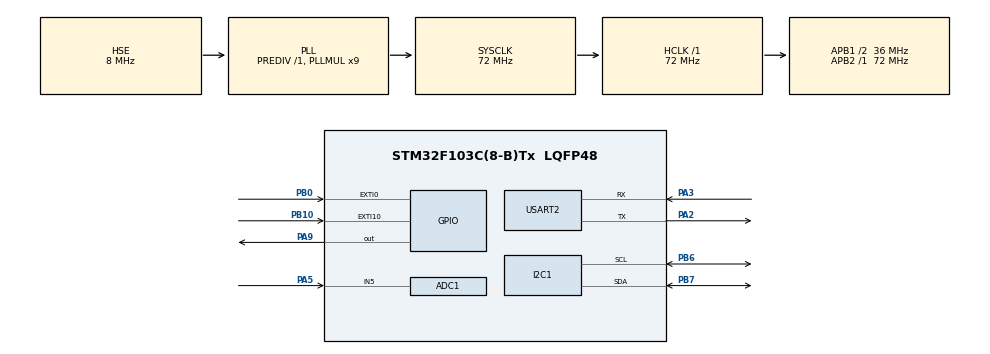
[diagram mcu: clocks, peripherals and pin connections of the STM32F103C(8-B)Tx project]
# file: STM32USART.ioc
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ADC1.Channel-0\#ChannelRegularConversion=ADC_CHANNEL_5
ADC1.NbrOfConversionFlag=1
ADC1.Rank-0\#ChannelRegularConversion=1
ADC1.SamplingTime-0\#ChannelRegularConversion=ADC_SAMPLETIME_1CYCLE_5
ADC1.master=1
Dma.Request0=USART2_RX
Dma.Request1=USART2_TX
Dma.USART2_RX.0.Direction=DMA_PERIPH_TO_MEMORY
Dma.USART2_RX.0.Instance=DMA1_Channel6
Dma.USART2_RX.0.MemDataAlignment=DMA_MDATAALIGN_BYTE
Dma.USART2_RX.0.MemInc=DMA_MINC_ENABLE
Dma.USART2_RX.0.Mode=DMA_NORMAL
Dma.USART2_RX.0.PeriphDataAlignment=DMA_PDATAALIGN_BYTE
Dma.USART2_RX.0.PeriphInc=DMA_PINC_DISABLE
Dma.USART2_RX.0.Priority=DMA_PRIORITY_LOW
Dma.USART2_TX.1.Direction=DMA_MEMORY_TO_PERIPH
Dma.USART2_TX.1.Instance=DMA1_Channel7
Dma.USART2_TX.1.MemDataAlignment=DMA_MDATAALIGN_BYTE
Dma.USART2_TX.1.MemInc=DMA_MINC_ENABLE
Dma.USART2_TX.1.Mode=DMA_NORMAL
Dma.USART2_TX.1.PeriphDataAlignment=DMA_PDATAALIGN_BYTE
Dma.USART2_TX.1.PeriphInc=DMA_PINC_DISABLE
Dma.USART2_TX.1.Priority=DMA_PRIORITY_LOW
I2C1.I2C_Mode=I2C_Fast
Mcu.Family=STM32F1
Mcu.Name=STM32F103C(8-B)Tx
Mcu.Package=LQFP48
NVIC.ADC1_2_IRQn=true\:2\:0\:true\:false\:true\:true\:true\:true
NVIC.DMA1_Channel6_IRQn=true\:0\:0\:true\:false\:true\:false\:true\:true
NVIC.DMA1_Channel7_IRQn=true\:0\:0\:false\:false\:true\:false\:true\:true
NVIC.EXTI0_IRQn=true\:1\:0\:true\:false\:true\:true\:true\:true
NVIC.EXTI15_10_IRQn=true\:0\:0\:true\:false\:true\:true\:true\:true
NVIC.PriorityGroup=NVIC_PRIORITYGROUP_4
NVIC.TIM1_UP_IRQn=true\:0\:0\:false\:false\:true\:true\:true\:true
NVIC.TIM2_IRQn=true\:1\:0\:true\:false\:true\:true\:true\:true
NVIC.TIM4_IRQn=true\:0\:0\:true\:false\:true\:true\:true\:true
NVIC.USART2_IRQn=true\:1\:0\:true\:false\:true\:true\:true\:true
PA13.Mode=Serial_Wire
PA13.Signal=SYS_JTMS-SWDIO
PA14.Mode=Serial_Wire
PA14.Signal=SYS_JTCK-SWCLK
PA2.Mode=Asynchronous
PA2.Signal=USART2_TX
PA3.Mode=Asynchronous
PA3.Signal=USART2_RX
PA5.Signal=ADCx_IN5
PA9.GPIO_PuPd=GPIO_NOPULL
PA9.Signal=GPIO_Output
PB0.GPIO_ModeDefaultEXTI=GPIO_MODE_IT_FALLING
PB0.GPIO_PuPd=GPIO_PULLUP
PB0.Signal=GPXTI0
PB10.GPIO_ModeDefaultEXTI=GPIO_MODE_IT_RISING
PB10.GPIO_PuPd=GPIO_PULLUP
PB10.Signal=GPXTI10
PB6.Mode=I2C
PB6.Signal=I2C1_SCL
PB7.Mode=I2C
PB7.Signal=I2C1_SDA
PD0-OSC_IN.Mode=HSE-External-Oscillator
PD0-OSC_IN.Signal=RCC_OSC_IN
PD1-OSC_OUT.Mode=HSE-External-Oscillator
PD1-OSC_OUT.Signal=RCC_OSC_OUT
ProjectManager.HeapSize=0x200
ProjectManager.StackSize=0x400
ProjectManager.TargetToolchain=MDK-ARM V5.32
RCC.ADCPresc=RCC_ADCPCLK2_DIV6
RCC.AHBFreq_Value=72000000
RCC.APB1CLKDivider=RCC_HCLK_DIV2
RCC.APB1Freq_Value=36000000
RCC.APB1TimFreq_Value=72000000
RCC.APB2Freq_Value=72000000
RCC.APB2TimFreq_Value=72000000
RCC.HCLKFreq_Value=72000000
RCC.PLLMUL=RCC_PLL_MUL9
RCC.PLLSourceVirtual=RCC_PLLSOURCE_HSE
RCC.SYSCLKFreq_VALUE=72000000
RCC.SYSCLKSource=RCC_SYSCLKSOURCE_PLLCLK
RCC.USBFreq_Value=72000000
SH.ADCx_IN5.0=ADC1_IN5,IN5
TIM1.Period=125-1
TIM1.Prescaler=36000-1
TIM2.Period=2000-1
TIM2.Prescaler=36000-1
TIM4.Period=20-1
TIM4.Prescaler=36000-1
USART2.VirtualMode=VM_ASYNC
VP_TIM1_VS_ClockSourceINT.Mode=Internal
VP_TIM2_VS_ClockSourceINT.Mode=Internal
VP_TIM4_VS_ClockSourceINT.Mode=Internal
board=custom

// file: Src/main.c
/* USER CODE BEGIN Header */
/**
  ******************************************************************************
  * @file           : main.c
  * @brief          : Main program body
  ******************************************************************************
  * @attention
  *
  * Copyright (c) 2023 STMicroelectronics.
  * All rights reserved.
  *
  * This software is licensed under terms that can be found in the LICENSE file
  * in the root directory of this software component.
  * If no LICENSE file comes with this software, it is provided AS-IS.
  *
  ******************************************************************************
  */
/* USER CODE END Header */
#include "main.h"

/* USER CODE BEGIN Includes */
#include "stdio.h"
#include "stdlib.h"
#include "string.h"
#include "stdbool.h"
#include "Module.h"
#include "ATCommandList.h"
#include "Parameter.h"
#include "ssd1306.h"
#include "fonts.h"
#include "bitmap.h"
/* USER CODE END Includes */

ADC_HandleTypeDef hadc1;

I2C_HandleTypeDef hi2c1;

TIM_HandleTypeDef htim1;
TIM_HandleTypeDef htim2;
TIM_HandleTypeDef htim4;

UART_HandleTypeDef huart2;
DMA_HandleTypeDef hdma_usart2_rx;
DMA_HandleTypeDef hdma_usart2_tx;

void SystemClock_Config(void);
static void MX_GPIO_Init(void);
static void MX_DMA_Init(void);
static void MX_USART2_UART_Init(void);
static void MX_ADC1_Init(void);
static void MX_I2C1_Init(void);
static void MX_TIM2_Init(void);
static void MX_TIM4_Init(void);
static void MX_TIM1_Init(void);

/* USER CODE BEGIN 0 */

uint16_t oldPos = 0;
uint16_t newPos = 0;
volatile int rssi = -1;
int ber = -1;
uint8_t networkRegistered;
volatile uint8_t programStage = 1;

uint16_t u16_ADCVal = 0;

uint32_t currentMillis = 0;
uint32_t previosMillis = 0;

uint32_t timerSendMessage = 0;

bool passivelyListen = false;
bool responseReceived;
volatile bool mqttParemeterConnected = false;
volatile bool oledButton = false;
volatile bool waterLeak = false;
volatile bool sendMessage = false; /* true to send message immediately*/
volatile bool resetOLED = false;
volatile bool batteryCalculate = true;

//bool sendMessagePeriod = true;
//volatile bool sendMessageWaterLeak = false;
//volatile bool sendMessageLowBattery = false;
volatile bool OLEDTurnedOff;

StatusType commandResponseStatus;

char responseReceiveBuffer[RESPONSE_BUFFER_SIZE];
char responseMainBuffer[RESPONSE_BUFFER_SIZE];
char commandResponse[RESPONSE_BUFFER_SIZE];

char delimiter[4] = ",\r\n";
char message[100];

float flow = 0; /* Lit per minute */
int frequency = 0;
float coefficient;
char bufferflow[20];
float waterFlowPrevious;
float waterFlowNow;
volatile float volume = 0;
volatile float batteryVoltage = 3.3;
int pulse = 0;

/**/

int counterOLEDDisplay = 0;
int counterWaterLeakage = 0;
int counterResetOLED = 0;
int counterBattery = 0;
int counterSendMessage = 15*60 - 5*60 - 1;
int counterWaterRemainUnleak = 0;

/**/

void turnOnSSD1306(){
	ssd1306_I2C_Write(0x78, 0x00, 0x8D);
	ssd1306_I2C_Write(0x78, 0x00, 0x14);
	ssd1306_I2C_Write(0x78, 0x00, 0xAF);
}

void turnOffSSD1306(){
	ssd1306_I2C_Write(0x78, 0x00, 0x8D);
	ssd1306_I2C_Write(0x78, 0x00, 0x10);
	ssd1306_I2C_Write(0x78, 0x00, 0xAE);
}

void HAL_TIM_PeriodElapsedCallback(TIM_HandleTypeDef *htim)
{
  /* Prevent unused argument(s) compilation warning */
	UNUSED(htim);
	if(htim->Instance == TIM1){ /* 62.5 ms */
		frequency = pulse * 16;
		if(frequency == 16){
			coefficient = 12.0208; // 8.1
		}else if(frequency == 32){
			coefficient = 7.831; // 8.109
		}else if(frequency == 48){
			coefficient = 8.1062;
		}else if(frequency == 64){
			coefficient = 8.0608;
		}else if(frequency == 80){
			coefficient = 8.155;
		}else{
			coefficient = 7.312;
		}
		flow = frequency / (coefficient * 60);
//			if(frequency < 50){
//				if(frequency < 16){
//					coefficient = frequency/2;  /* 0 -> 16 */
////					coefficient = 7.512;
//				}else if(frequency > 32){
//					coefficient = 0.0054 * frequency + 7.947; /* 32.5 -> 49.3 */
//				}else{
//					coefficient = 8.2; /* 16 -> 32.5*/
//				}
//			}else{
//				if(frequency < 82){
//					if(frequency < 66){
//						coefficient = -0.0018 * frequency + 8.307; /* 49.3 -> 65.5 */
//					}else{
//						coefficient = 0.0008 * frequency + 8.138; /* 65.5 -> 82 */
//					}
//				}else{
//					if(frequency < 91){
//						coefficient = -0.0834 * frequency + 15.04; /* 82 -> 90.2 */
//					}else{
//						coefficient = 7.512; /* > 90.2 */
//					}
//				}
//			}
//			if(coefficient == 0){
//				flow = 0;
//			}else{
//				flow = frequency / (coefficient * 60) ; /* pulse * 10 = frequency, 7.5 is a parameter number based on datasheet, lit/minute to lit/second */
//			}
//			counter10ms = 0;
			pulse = 0;
	}
	if(htim->Instance == TIM4){ /* 10ms */
		waterFlowPrevious = waterFlowNow;
		waterFlowNow = flow;
		volume += ((waterFlowNow + waterFlowPrevious)/2) * 0.01; /* Avarage flow rate per 10ms, then multiply with time to have the volume*/
	}
	if(htim->Instance == TIM2){ /* 1s */

		/* WatchDog Module */

//		if(sendMessage){
//				timerSendMessage++;
//			if(timerSendMessage == 5 * 60){
//				forceShutdownModule();
//			}
//		}

		/* Send Message */

		if(!sendMessage){
			counterSendMessage++;
			if(counterSendMessage == 15 * 60){
				sendMessage = true;
				programStage = 1;
			}
		}else{
			counterSendMessage = 0;
		}

		/* Turn Off OLED*/

		if(oledButton){
			counterOLEDDisplay++;
			if(counterOLEDDisplay == 6){
				oledButton = false;
				OLEDTurnedOff = false;
			}
		}else{
			counterOLEDDisplay = 0;
		}

		/* Low Battery Alert */

		if(!batteryCalculate){
			counterBattery++;
			if(counterBattery == 20 * 60){
				batteryCalculate = true;
			}
		}

		/* Reset OLED */

		if(!resetOLED){
			counterResetOLED++;
			if(counterResetOLED == 10 * 60){
				resetOLED = true;
			}
		}

		/* Leak Alert - Real*/

		if(flow > 0){
			counterWaterLeakage++;
			if(counterWaterLeakage == 60 * 60){
				waterLeak = true;
				sendMessage = true;
				counterWaterLeakage = 0;
			}
		}else{
			if(waterLeak){
				counterWaterRemainUnleak++;
				if(counterWaterRemainUnleak == 20 * 60){
					waterLeak = false;
					sendMessage = true;
					counterWaterRemainUnleak = 0;
				}
			}else{
				counterWaterLeakage = 0;
			}
		}
	}
}

void HAL_ADC_ConvCpltCallback(ADC_HandleTypeDef* hadc)
{
  /* Prevent unused argument(s) compilation warning */
  UNUSED(hadc);
	if(hadc->Instance == ADC1){
		u16_ADCVal = HAL_ADC_GetValue(&hadc1);
		batteryVoltage = (((float) u16_ADCVal * 2)/4095)*3.3;
	}
  /* NOTE : This function should not be modified. When the callback is needed,
            function HAL_ADC_ConvCpltCallback must be implemented in the user file.
   */
}

void turnOnModule(){
		HAL_GPIO_WritePin(GPIOA, GPIO_PIN_9, GPIO_PIN_SET);
		/* Delay 800ms (According to Hardware Design Datasheet */
		HAL_Delay(800);
		HAL_GPIO_WritePin(GPIOA, GPIO_PIN_9, GPIO_PIN_RESET);
		HAL_Delay(200);
}

void wakeUpModule(){
	/* Pull Up/Down PWR key depend on Module*/
	HAL_GPIO_WritePin(GPIOA, GPIO_PIN_9, GPIO_PIN_SET);
	/* Delay 60ms (According to Hardware Design Datasheet */
	HAL_Delay(60);
	HAL_GPIO_WritePin(GPIOA, GPIO_PIN_9, GPIO_PIN_RESET);
	HAL_Delay(200);
}

void resetDMAInterrupt(){
	HAL_UARTEx_ReceiveToIdle_DMA(&huart2, (uint8_t *) responseReceiveBuffer, RESPONSE_BUFFER_SIZE);
	__HAL_DMA_DISABLE_IT(&hdma_usart2_rx, DMA_IT_HT);
}

void clearMainBuffer() {
	for (int i = 0; i < RESPONSE_BUFFER_SIZE; i++) {
		responseMainBuffer[i] = 0;
	}
	oldPos = 0;
	newPos = 0;
}

void sendCommand(char command[50], uint8_t maxCount, uint32_t timeout){
	uint8_t counter = 0;
	uint32_t timer;
	char sentCommand[50];
	strcpy(sentCommand, command);
	strcat(sentCommand, "\r\n");
	while(counter++ < maxCount){
		clearMainBuffer();
		if(!strcmp(command,"AT+CPOWD=1")){
			passivelyListen = false;
		}
		resetDMAInterrupt();
		timer = HAL_GetTick();
		responseReceived = false;
		commandResponseStatus = STATUS_TIMEOUT;
//		strcat(command, "\r\n");
		HAL_UART_Transmit_DMA(&huart2, (uint8_t *) sentCommand, (uint16_t) strlen(sentCommand));
//		HAL_UART_Transmit_DMA(&huart2, (uint8_t *) "\r\n", (uint16_t) strlen("\r\n"));
		while(HAL_GetTick() - timer <= timeout){
			if(responseReceived == true){
				break;
			}
		}
		if(commandResponseStatus == STATUS_SUCCESS){
			break;
		}
		clearMainBuffer();
		HAL_Delay(COMMAND_DELAY_MS);
	}
}

/**
  * @brief  Reception Event Callback (Rx event notification called after use of advanced reception service).
  * @param  huart UART handle
  * @param  Size  Number of data available in application reception buffer (indicates a position in
  *               reception buffer until which, data are available)
  * @retval None
  */
void HAL_UARTEx_RxEventCallback(UART_HandleTypeDef *huart, uint16_t Size)
{
  /* Prevent unused argument(s) compilation warning */
  if(huart->Instance == USART2){
		char *success_ptr;
		char *error_ptr;

		oldPos = newPos;  // Update the last position before copying new data

		/* If the data in large and it is about to exceed the buffer size, we have to route it to the start of the buffer
		 * This is to maintain the circular buffer
		 * The old data in the main buffer will be overlapped
		 */
		if (oldPos+Size > RESPONSE_BUFFER_SIZE)  // If the current position + new data size is greater than the main buffer
		{
			clearMainBuffer();
		}

		/* if the current position + new data size is less than the main buffer
		 * we will simply copy the data into the buffer and update the position
		 */
		else
		{
			memcpy ((uint8_t *)responseMainBuffer+oldPos, responseReceiveBuffer, Size);
			newPos = Size+oldPos;
		}

	/* Checking passively listen */
	if(passivelyListen){
		for(int i = 0; i < PASSIVE_RESPONSE_LENGTH; i++){
			error_ptr = strstr(responseMainBuffer, PASSIVE_RESPONSE_SIGN[0]);
			if(error_ptr != NULL){
				commandResponseStatus = STATUS_SUCCESS;
				clearMainBuffer();
				responseReceived = true;
			}
		}
		passivelyListen = false;
	}

	/* Checking completion of command */
	for(int i = 0; i < ERROR_RESPONSE_LENGTH; i++){
		error_ptr = strstr(responseMainBuffer, ERROR_COMMAND_SIGN[i]);
		if(error_ptr != NULL){
			commandResponseStatus = STATUS_ERROR;
			responseReceived = true;
			clearMainBuffer();
			break;
		}
	}

	for(int i = 0; i < SUCCESS_RESPONSE_LENGTH; i++){
		success_ptr = strstr(responseMainBuffer, SUCCESS_COMMAND_SIGN[i]);
		if(success_ptr != NULL){
			commandResponseStatus = STATUS_SUCCESS;
			responseReceived = true;
			strcpy(commandResponse, responseMainBuffer);
			clearMainBuffer();
			break;
		}
	}

	/* Start the DMA again */
	resetDMAInterrupt();

	}
  /* NOTE : This function should not be modified, when the callback is needed,
            the HAL_UARTEx_RxEventCallback can be implemented in the user file.
   */
}

StatusType forceShutdownModule(){
	StatusType outputStatus = STATUS_UNKNOWN;
	passivelyListen = true;
	uint32_t timer;
	clearMainBuffer();
	resetDMAInterrupt();
	timer = HAL_GetTick();
	responseReceived = false;
	commandResponseStatus = STATUS_TIMEOUT;
	HAL_GPIO_WritePin(GPIOA, GPIO_PIN_9, GPIO_PIN_SET);
	/* Delay 1000ms (According to Hardware Design Datasheet */
	HAL_Delay(1000);
	HAL_GPIO_WritePin(GPIOA, GPIO_PIN_9, GPIO_PIN_RESET);
	HAL_Delay(200);
	while(HAL_GetTick() - timer <= 1000){
		if(responseReceived == true){
			break;
		}
	}
	outputStatus = commandResponseStatus;
	return outputStatus;
}

StatusType turnOffModule(){
	StatusType outputStatus = STATUS_UNKNOWN;
	passivelyListen = true;
	sendCommand("AT+CPOWD=1", 1, RUN_COMMAND_TIMEOUT_MS_DEFAULT);
	outputStatus = commandResponseStatus;
	return outputStatus;
}

StatusType checkModule(){
	StatusType outputStatus = STATUS_UNKNOWN;
	sendCommand("AT", RUN_COMMAND_COUNTER_DEFAULT, RUN_COMMAND_TIMEOUT_MS_DEFAULT);
	outputStatus = commandResponseStatus;
	return outputStatus;
}

StatusType setEchoMode(){
	StatusType outputStatus = STATUS_UNKNOWN;
	sendCommand("ATE0", RUN_COMMAND_COUNTER_DEFAULT, RUN_COMMAND_TIMEOUT_MS_DEFAULT);
	outputStatus = commandResponseStatus;
	return outputStatus;
}

StatusType checkSim(){
	StatusType outputStatus = STATUS_UNKNOWN;
	sendCommand("AT+CPIN?", RUN_COMMAND_COUNTER_DEFAULT, RUN_COMMAND_TIMEOUT_MS_DEFAULT);
	outputStatus = commandResponseStatus;
	return outputStatus;
}

StatusType getAndSetOperationalBand(){
	StatusType outputStatus = STATUS_UNKNOWN;
	sendCommand("AT+CBAND=3", RUN_COMMAND_COUNTER_DEFAULT, RUN_COMMAND_TIMEOUT_MS_DEFAULT);
	outputStatus = commandResponseStatus;
	return outputStatus;
}

StatusType readSignalQualityReport(){
	StatusType outputStatus = STATUS_UNKNOWN;
	sendCommand("AT+CSQ", RUN_COMMAND_COUNTER_DEFAULT, RUN_COMMAND_TIMEOUT_MS_DEFAULT);
	outputStatus = commandResponseStatus;
	if(outputStatus == STATUS_SUCCESS){
		/* RSSI and BER */

		int numberOfElements = 2;
		char *data_pointer;
		char *token_array[numberOfElements];
		char *token;

		uint8_t i = 0;

		data_pointer = strstr(commandResponse, ":");
		data_pointer = data_pointer + 2;
		token = strtok(data_pointer, delimiter);

		while(token != NULL && i < numberOfElements){
			token_array[i] = token;
			token = strtok(NULL, delimiter);
			i++;
		}
		rssi = atoi(token_array[0]);
		ber = atoi(token_array[1]);

	}
	return outputStatus;
}

StatusType readNetworkRegistrationStatus(){
	StatusType outputStatus = STATUS_UNKNOWN;
	sendCommand("AT+CREG?",RUN_COMMAND_COUNTER_DEFAULT, RUN_COMMAND_TIMEOUT_MS_DEFAULT);
	outputStatus = commandResponseStatus;
	if(outputStatus == STATUS_SUCCESS){
		/* Registered */

		uint8_t numberOfElements = 2;
		char *data_pointer;
		char *token;
		char *token_array[numberOfElements];
		uint8_t i = 0;

		data_pointer = strstr(commandResponse, ":");
		data_pointer = data_pointer + 2;

		if(!data_pointer){
			outputStatus = STATUS_FAILURE;
			return outputStatus;
		}

		token = strtok(data_pointer, delimiter);

		while(token != NULL && i < numberOfElements){
			token_array[i] = token;
			token = strtok(NULL, delimiter);
			i++;
		}

		networkRegistered = atoi(token_array[1]);

	}
	return outputStatus;
}

StatusType setPhoneFunctionality(uint8_t fun){
	StatusType outputStatus = STATUS_UNKNOWN;
	char command[20];
	sprintf(command, "AT+CFUN=%u", fun);
	sendCommand(command, RUN_COMMAND_COUNTER_DEFAULT, RUN_COMMAND_TIMEOUT_MS_DEFAULT);
	outputStatus = commandResponseStatus;
	return outputStatus;
}

StatusType setDefaultPSDConnection(){
	StatusType outputStatus = STATUS_UNKNOWN;
	sendCommand("AT*MCGDEFCONT=\"ip\",\"nbiot\"", RUN_COMMAND_COUNTER_DEFAULT, RUN_COMMAND_TIMEOUT_MS_DEFAULT);
	outputStatus = commandResponseStatus;
	return outputStatus;
}

StatusType configWakeupIndication(){
	StatusType outputStatus = STATUS_UNKNOWN;
	sendCommand("AT+CPSMSTATUS=1", RUN_COMMAND_COUNTER_DEFAULT, RUN_COMMAND_TIMEOUT_MS_DEFAULT);
	outputStatus = commandResponseStatus;
	return outputStatus;
}

StatusType configSlowClock(){
	StatusType outputStatus = STATUS_UNKNOWN;
	sendCommand("AT+CSCLK=2", RUN_COMMAND_COUNTER_DEFAULT, RUN_COMMAND_TIMEOUT_MS_DEFAULT);
	outputStatus = commandResponseStatus;
	return outputStatus;
}

StatusType configPSM(){
	StatusType outputStatus = STATUS_UNKNOWN;
	sendCommand("AT+CPSMS=1,,,\"01011111\",\"00000100\"", RUN_COMMAND_COUNTER_DEFAULT, RUN_COMMAND_TIMEOUT_MS_DEFAULT);
	outputStatus = commandResponseStatus;
	return outputStatus;
}

StatusType checkMQTTConnection(){
	StatusType outputStatus = STATUS_UNKNOWN;
	sendCommand("AT+CMQNEW?", RUN_COMMAND_COUNTER_DEFAULT + 1, RUN_COMMAND_TIMEOUT_MS_DEFAULT);
	outputStatus = commandResponseStatus;
	if(outputStatus == STATUS_SUCCESS){
		/* Registered */

		uint8_t numberOfElements = 3;
		char *data_pointer;
		char *token;
		char *token_array[numberOfElements];
		uint8_t i = 0;

		data_pointer = strstr(commandResponse, ":");
		data_pointer = data_pointer + 2;

		if(!data_pointer){
			outputStatus = STATUS_FAILURE;
			return outputStatus;
		}

		token = strtok(data_pointer, delimiter);

		while(token != NULL && i < numberOfElements){
			token_array[i] = token;
			token = strtok(NULL, delimiter);
			i++;
		}

		if(!strcmp(token_array[2],"null")){
			mqttParemeterConnected = false;
		}else{
			mqttParemeterConnected = true;
		}

	}
	return outputStatus;
}

StatusType newMQTT(){
	StatusType outputStatus = STATUS_UNKNOWN;
	char command[50];
	sprintf(command, "AT+CMQNEW=\"%s\",\"%i\",%u,%u", MQTT_SERVER, MQTT_PORT, MQTT_COMMAND_TIMEOUT_MS, MQTT_BUFFER_SIZE);
	sendCommand(command, RUN_COMMAND_COUNTER_DEFAULT + 1, RUN_COMMAND_TIMEOUT_MS_DEFAULT + 2000);
	outputStatus = commandResponseStatus;
	return outputStatus;
}

StatusType sendMQTTConnect(){
	StatusType outputStatus = STATUS_UNKNOWN;
	char command[50];
	sprintf(command, "AT+CMQCON=%u,%u,\"%s\",%u,%u,%u",MQTT_ID, MQTT_VERSION, MQTT_CLIENT_ID, MQTT_KEEP_ALIVE_INTERVAL, MQTT_CONNECT_CLEAN_SESSION, MQTT_CONNECT_WILL_FLAG);
	sendCommand(command, RUN_COMMAND_COUNTER_DEFAULT + 4, RUN_COMMAND_TIMEOUT_MS_DEFAULT + 2000);
	outputStatus = commandResponseStatus;
	return outputStatus;
}

StatusType sendMQTTPub(char topic[], uint8_t qos, bool retained, bool dup, char message[]){
	StatusType outputStatus = STATUS_UNKNOWN;
	uint16_t messageLength = strlen(message);
	char command[200];
	sprintf(command, "AT+CMQPUB=%u,\"%s\",%u,%u,%u,%u,\"%s\"", MQTT_ID, topic, qos, retained, dup, messageLength, message);
	sendCommand(command, RUN_COMMAND_COUNTER_DEFAULT + 1, RUN_COMMAND_TIMEOUT_MS_DEFAULT + 2000);
	outputStatus = commandResponseStatus;
	return outputStatus;
}

StatusType MQTTDisconnect(){
	StatusType outputStatus = STATUS_UNKNOWN;
	char command[20];
	sprintf(command, "AT+CMQDISCON=%u", MQTT_ID);
	sendCommand(command, RUN_COMMAND_COUNTER_DEFAULT, RUN_COMMAND_TIMEOUT_MS_DEFAULT);
	outputStatus = commandResponseStatus;
	return outputStatus;
}

void moduleFlow(){

	/* Stage 1 - Set Up Module */

		while(programStage == 1){

			if(checkModule() != STATUS_SUCCESS){
				turnOnModule();
				continue;
			}

			if(readSignalQualityReport() != STATUS_SUCCESS){
				continue;
			}

			if(setEchoMode() != STATUS_SUCCESS){
				continue;
			}

			if(checkSim() != STATUS_SUCCESS){
				turnOffModule();
				HAL_Delay(1000);
				turnOnModule();
				continue;
			}

//			if(getAndSetOperationalBand() != STATUS_SUCCESS){
//				continue;
//			}

			HAL_Delay(1000);
			programStage = 2;

		}
		/* Stage 2 - Check Network */

		int8_t tryTimes = 4;

		while(programStage == 2){
			/* Check Registration Status */
			while (tryTimes--){
				/* AT+CREG */

				if(readNetworkRegistrationStatus() == STATUS_SUCCESS){
					programStage = 3;
					break;
				}

				if(tryTimes < 2){
					wakeUpModule();
					HAL_Delay(1000);
				}
				HAL_Delay(1000);
			}
			if(tryTimes == -1){
				/* Cannot register automatically. Try to register manually 2 times */
				int8_t tryManually = 3;
				while(tryManually--){
					if(setPhoneFunctionality(0) != STATUS_SUCCESS){
						continue;
					}

					if(setDefaultPSDConnection() != STATUS_SUCCESS){
						continue;
					}

					if(setPhoneFunctionality(1) != STATUS_SUCCESS){
						continue;
					}

					if(readNetworkRegistrationStatus() == STATUS_SUCCESS){
						programStage = 3;
						break;
					}
				}
				if(tryManually == -1){
					turnOffModule();
					programStage = 1;
					HAL_Delay(1000);
					break;
				}
			}
			programStage = 3;
			break;
		}

		/* Configure PSM first time only*/

		while(programStage == 3){
			programStage = 4;
			break;
	  }

//		if(configuredPSM == true){
//			programStage = 4;
//		}
//
//		/* Stage 3 - Configure PSM Feature*/
//		while(programStage == 3){
//			if(configWakeupIndication() != STATUS_SUCCESS){
//				continue;
//			}
//			if(configPSM() != STATUS_SUCCESS){
//				continue;
//			}
//			configuredPSM = true;
//			programStage = 4;
//			HAL_Delay(2000);
//		}

		/* Stage 4 - MQTT */

		int8_t tryMQTT;
		while(programStage == 4){

			if(checkMQTTConnection() != STATUS_SUCCESS){
				continue;
			}

			if(mqttParemeterConnected){
				if(MQTTDisconnect() != STATUS_SUCCESS){
					continue;
				}
			}

			tryMQTT = 3;

			while(tryMQTT--){
				if(newMQTT() == STATUS_SUCCESS){
					break;
				}
			}

			if(tryMQTT == -1){
				turnOffModule();
				HAL_Delay(1000);
				turnOnModule();
			}

			if(sendMQTTConnect() != STATUS_SUCCESS){
				continue;
			}

			/* Send Message */

			int8_t trySend = 4;
			sprintf(message,"bat:%.1f,vol:%.1f,sig:%u,leak:%u", batteryVoltage, volume, rssi, waterLeak);
			while(trySend--){
				if(sendMQTTPub("watermeter1/messages", 0, 0, 0, message) == STATUS_SUCCESS){
					sendMessage = false;
					break;
				}else{
					turnOnModule();
					continue;
				}
			}

			/* Failed to send message*/

			if(trySend == -1){
//				turnOffModule();
				programStage = 1;
				break;
			}

			if(MQTTDisconnect() != STATUS_SUCCESS){
				continue;
			}

			HAL_Delay(1000);
			programStage = 5;
		}

		/* What to do when MCU has free time ? */
		passivelyListen = true;
}

void HAL_GPIO_EXTI_Callback(uint16_t GPIO_Pin)
{
  /* Prevent unused argument(s) compilation warning */
	currentMillis = HAL_GetTick();
	if(GPIO_Pin == GPIO_PIN_0 && currentMillis - previosMillis > 200){
		oledButton = true;
		previosMillis = currentMillis;
	}
  /* NOTE: This function Should not be modified, when the callback is needed,
           the HAL_GPIO_EXTI_Callback could be implemented in the user file
   */
}

void setUpSSD1306(){
			turnOnSSD1306();
			SSD1306_GotoXY(0,10);
			sprintf(bufferflow, "%2.2f", volume);
			SSD1306_Puts(bufferflow, &Font_16x26, SSD1306_COLOR_WHITE);

			SSD1306_GotoXY(56,37);

//			sprintf(bufferflow, "K: %2.21f", coefficient);
			SSD1306_Puts("dm3", &Font_11x18, SSD1306_COLOR_WHITE);
			/* Display Battery Icon */

			if(batteryVoltage > 3.3){
				if(batteryVoltage > 3.4){
					SSD1306_DrawBitmap(112, 0, bat3_icon16x16, 16, 16, 1);
				}else{
					SSD1306_DrawBitmap(112, 0, bat2_icon16x16, 16, 16, 1);
				}
			}else{
				if(batteryVoltage < 3.2){
					SSD1306_DrawBitmap(112, 0, bat0_icon16x16, 16, 16, 1);
				}else{
					SSD1306_DrawBitmap(112, 0, bat1_icon16x16, 16, 16, 1);
				}
			}
			/* Display Signal Icon */

			if(rssi > 10){
				if(rssi > 20){
					if(rssi == 99){
						SSD1306_DrawBitmap(112, 16, cancel_icon16x16, 16, 16, 1);
					}else{
						SSD1306_DrawBitmap(112, 16, signal4_icon16x16, 16, 16, 1);
					}
				}else{
					SSD1306_DrawBitmap(112, 16, signal3_icon16x16, 16, 16, 1);
				}
			}else{
				if(rssi < 5){
					if(rssi == 0){
						SSD1306_DrawBitmap(112, 16, cancel_icon16x16, 16, 16, 1);
					}else{
						SSD1306_DrawBitmap(112, 16, signal1_icon16x16, 16, 16, 1);
					}
				}else {
					SSD1306_DrawBitmap(112, 16, signal2_icon16x16, 16, 16, 1);
				}
			}

			/*Display Water Tap */

			if(waterLeak){
				SSD1306_DrawBitmap(112, 40, water_tap_icon16x16, 16, 16, 1);
			}

			SSD1306_UpdateScreen();
}

/* USER CODE END 0 */

int main(void)
{

  /* MCU Configuration--------------------------------------------------------*/

  /* Reset of all peripherals, Initializes the Flash interface and the Systick. */
  HAL_Init();

  /* Configure the system clock */
  SystemClock_Config();

  /* Initialize all configured peripherals */
  MX_GPIO_Init();
  MX_DMA_Init();
  MX_USART2_UART_Init();
  MX_ADC1_Init();
  MX_I2C1_Init();
  MX_TIM2_Init();
  MX_TIM4_Init();
  MX_TIM1_Init();
  /* USER CODE BEGIN 2 */
	HAL_TIM_Base_Start_IT(&htim1);
	HAL_TIM_Base_Start_IT(&htim2);
	HAL_TIM_Base_Start_IT(&htim4);

	SSD1306_Init();
	HAL_ADC_Start_IT(&hadc1);
//	int maxFrequency = frequency;
  /* USER CODE END 2 */

  /* Infinite loop */
  /* USER CODE BEGIN WHILE */
  while (1)
  {
//		if(sendMessagePeriod || sendMessageLowBattery || sendMessageWaterLeak){
//			sendMessage = true;
//			sendMessagePeriod = false;
//			sendMessageLowBattery = false;
//			sendMessageWaterLeak = false;
//		}
//		setUpSSD1306();
//		HAL_GPIO_TogglePin(GPIOC, GPIO_PIN_13);
//		HAL_Delay(1000);
		if(sendMessage){
			turnOnModule();
			moduleFlow();
		}
		if(oledButton){
			setUpSSD1306();
		}else{
			if(!OLEDTurnedOff){
				turnOffSSD1306();
				OLEDTurnedOff = true;
			}
		}
		if(resetOLED){
			SSD1306_Init();
			resetOLED = false;
			counterResetOLED = 0;
		}
		if(batteryCalculate){
			HAL_ADC_Start_IT(&hadc1);
			if(batteryVoltage < 3.2){
				sendMessage = true;
			}
			batteryCalculate = false;
			counterBattery = 0;
		}
		HAL_Delay(1000);

//		sendCommand("AT", RUN_COMMAND_COUNTER_DEFAULT, RUN_COMMAND_TIMEOUT_MS_DEFAULT);
//		HAL_Delay(1000);
//		if(frequency > maxFrequency){
//			maxFrequency = frequency;
//		}
//		SSD1306_GotoXY(0,0);
//		sprintf(bufferflow, "vol: %2.2f", volume);
//		SSD1306_Puts(bufferflow, &Font_11x18, 1);
//		SSD1306_GotoXY(0, 15);
//		sprintf(bufferflow, "K: %2.2f", coefficient);
//		SSD1306_Puts(bufferflow, &Font_11x18, 1);
//		SSD1306_GotoXY(0, 30);
//		sprintf(bufferflow, "f: %d mf: %d", frequency, maxFrequency);
//		SSD1306_Puts(bufferflow, &Font_11x18, 1);
//		SSD1306_GotoXY(0, 45);
//		sprintf(bufferflow, "flow: %2.2f", flow);
//		SSD1306_Puts(bufferflow, &Font_11x18, 1);
//		SSD1306_UpdateScreen();
//		HAL_GPIO_TogglePin(GPIOC, GPIO_PIN_13);
//		HAL_Delay(1000);
//			sprintf(bufferflow, "K: %2.21f", coefficient);

    /* USER CODE END WHILE */

  }
}

void SystemClock_Config(void)
{
  RCC_OscInitTypeDef RCC_OscInitStruct = {0};
  RCC_ClkInitTypeDef RCC_ClkInitStruct = {0};
  RCC_PeriphCLKInitTypeDef PeriphClkInit = {0};

  /** Initializes the RCC Oscillators according to the specified parameters
  * in the RCC_OscInitTypeDef structure.
  */
  RCC_OscInitStruct.OscillatorType = RCC_OSCILLATORTYPE_HSE;
  RCC_OscInitStruct.HSEState = RCC_HSE_ON;
  RCC_OscInitStruct.HSEPredivValue = RCC_HSE_PREDIV_DIV1;
  RCC_OscInitStruct.HSIState = RCC_HSI_ON;
  RCC_OscInitStruct.PLL.PLLState = RCC_PLL_ON;
  RCC_OscInitStruct.PLL.PLLSource = RCC_PLLSOURCE_HSE;
  RCC_OscInitStruct.PLL.PLLMUL = RCC_PLL_MUL9;
  if (HAL_RCC_OscConfig(&RCC_OscInitStruct) != HAL_OK)
  {
    Error_Handler();
  }

  /** Initializes the CPU, AHB and APB buses clocks
  */
  RCC_ClkInitStruct.ClockType = RCC_CLOCKTYPE_HCLK|RCC_CLOCKTYPE_SYSCLK
                              |RCC_CLOCKTYPE_PCLK1|RCC_CLOCKTYPE_PCLK2;
  RCC_ClkInitStruct.SYSCLKSource = RCC_SYSCLKSOURCE_PLLCLK;
  RCC_ClkInitStruct.AHBCLKDivider = RCC_SYSCLK_DIV1;
  RCC_ClkInitStruct.APB1CLKDivider = RCC_HCLK_DIV2;
  RCC_ClkInitStruct.APB2CLKDivider = RCC_HCLK_DIV1;

  if (HAL_RCC_ClockConfig(&RCC_ClkInitStruct, FLASH_LATENCY_2) != HAL_OK)
  {
    Error_Handler();
  }
  PeriphClkInit.PeriphClockSelection = RCC_PERIPHCLK_ADC;
  PeriphClkInit.AdcClockSelection = RCC_ADCPCLK2_DIV6;
  if (HAL_RCCEx_PeriphCLKConfig(&PeriphClkInit) != HAL_OK)
  {
    Error_Handler();
  }
}

static void MX_ADC1_Init(void)
{

  ADC_ChannelConfTypeDef sConfig = {0};

  /** Common config
  */
  hadc1.Instance = ADC1;
  hadc1.Init.ScanConvMode = ADC_SCAN_DISABLE;
  hadc1.Init.ContinuousConvMode = DISABLE;
  hadc1.Init.DiscontinuousConvMode = DISABLE;
  hadc1.Init.ExternalTrigConv = ADC_SOFTWARE_START;
  hadc1.Init.DataAlign = ADC_DATAALIGN_RIGHT;
  hadc1.Init.NbrOfConversion = 1;
  if (HAL_ADC_Init(&hadc1) != HAL_OK)
  {
    Error_Handler();
  }

  /** Configure Regular Channel
  */
  sConfig.Channel = ADC_CHANNEL_5;
  sConfig.Rank = ADC_REGULAR_RANK_1;
  sConfig.SamplingTime = ADC_SAMPLETIME_1CYCLE_5;
  if (HAL_ADC_ConfigChannel(&hadc1, &sConfig) != HAL_OK)
  {
    Error_Handler();
  }

}

static void MX_I2C1_Init(void)
{

  hi2c1.Instance = I2C1;
  hi2c1.Init.ClockSpeed = 400000;
  hi2c1.Init.DutyCycle = I2C_DUTYCYCLE_2;
  hi2c1.Init.OwnAddress1 = 0;
  hi2c1.Init.AddressingMode = I2C_ADDRESSINGMODE_7BIT;
  hi2c1.Init.DualAddressMode = I2C_DUALADDRESS_DISABLE;
  hi2c1.Init.OwnAddress2 = 0;
  hi2c1.Init.GeneralCallMode = I2C_GENERALCALL_DISABLE;
  hi2c1.Init.NoStretchMode = I2C_NOSTRETCH_DISABLE;
  if (HAL_I2C_Init(&hi2c1) != HAL_OK)
  {
    Error_Handler();
  }

}

static void MX_TIM1_Init(void)
{

  TIM_ClockConfigTypeDef sClockSourceConfig = {0};
  TIM_MasterConfigTypeDef sMasterConfig = {0};

  htim1.Instance = TIM1;
  htim1.Init.Prescaler = 36000-1;
  htim1.Init.CounterMode = TIM_COUNTERMODE_UP;
  htim1.Init.Period = 125-1;
  htim1.Init.ClockDivision = TIM_CLOCKDIVISION_DIV1;
  htim1.Init.RepetitionCounter = 0;
  htim1.Init.AutoReloadPreload = TIM_AUTORELOAD_PRELOAD_DISABLE;
  if (HAL_TIM_Base_Init(&htim1) != HAL_OK)
  {
    Error_Handler();
  }
  sClockSourceConfig.ClockSource = TIM_CLOCKSOURCE_INTERNAL;
  if (HAL_TIM_ConfigClockSource(&htim1, &sClockSourceConfig) != HAL_OK)
  {
    Error_Handler();
  }
  sMasterConfig.MasterOutputTrigger = TIM_TRGO_RESET;
  sMasterConfig.MasterSlaveMode = TIM_MASTERSLAVEMODE_DISABLE;
  if (HAL_TIMEx_MasterConfigSynchronization(&htim1, &sMasterConfig) != HAL_OK)
  {
    Error_Handler();
  }

}

static void MX_TIM2_Init(void)
{

  TIM_ClockConfigTypeDef sClockSourceConfig = {0};
  TIM_MasterConfigTypeDef sMasterConfig = {0};

  htim2.Instance = TIM2;
  htim2.Init.Prescaler = 36000-1;
  htim2.Init.CounterMode = TIM_COUNTERMODE_UP;
  htim2.Init.Period = 2000-1;
  htim2.Init.ClockDivision = TIM_CLOCKDIVISION_DIV1;
  htim2.Init.AutoReloadPreload = TIM_AUTORELOAD_PRELOAD_DISABLE;
  if (HAL_TIM_Base_Init(&htim2) != HAL_OK)
  {
    Error_Handler();
  }
  sClockSourceConfig.ClockSource = TIM_CLOCKSOURCE_INTERNAL;
  if (HAL_TIM_ConfigClockSource(&htim2, &sClockSourceConfig) != HAL_OK)
  {
    Error_Handler();
  }
  sMasterConfig.MasterOutputTrigger = TIM_TRGO_RESET;
  sMasterConfig.MasterSlaveMode = TIM_MASTERSLAVEMODE_DISABLE;
  if (HAL_TIMEx_MasterConfigSynchronization(&htim2, &sMasterConfig) != HAL_OK)
  {
    Error_Handler();
  }

}

static void MX_TIM4_Init(void)
{

  TIM_ClockConfigTypeDef sClockSourceConfig = {0};
  TIM_MasterConfigTypeDef sMasterConfig = {0};

  htim4.Instance = TIM4;
  htim4.Init.Prescaler = 36000-1;
  htim4.Init.CounterMode = TIM_COUNTERMODE_UP;
  htim4.Init.Period = 20-1;
  htim4.Init.ClockDivision = TIM_CLOCKDIVISION_DIV1;
  htim4.Init.AutoReloadPreload = TIM_AUTORELOAD_PRELOAD_DISABLE;
  if (HAL_TIM_Base_Init(&htim4) != HAL_OK)
  {
    Error_Handler();
  }
  sClockSourceConfig.ClockSource = TIM_CLOCKSOURCE_INTERNAL;
  if (HAL_TIM_ConfigClockSource(&htim4, &sClockSourceConfig) != HAL_OK)
  {
    Error_Handler();
  }
  sMasterConfig.MasterOutputTrigger = TIM_TRGO_RESET;
  sMasterConfig.MasterSlaveMode = TIM_MASTERSLAVEMODE_DISABLE;
  if (HAL_TIMEx_MasterConfigSynchronization(&htim4, &sMasterConfig) != HAL_OK)
  {
    Error_Handler();
  }

}

static void MX_USART2_UART_Init(void)
{

  huart2.Instance = USART2;
  huart2.Init.BaudRate = 115200;
  huart2.Init.WordLength = UART_WORDLENGTH_8B;
  huart2.Init.StopBits = UART_STOPBITS_1;
  huart2.Init.Parity = UART_PARITY_NONE;
  huart2.Init.Mode = UART_MODE_TX_RX;
  huart2.Init.HwFlowCtl = UART_HWCONTROL_NONE;
  huart2.Init.OverSampling = UART_OVERSAMPLING_16;
  if (HAL_UART_Init(&huart2) != HAL_OK)
  {
    Error_Handler();
  }

}

static void MX_DMA_Init(void)
{

  /* DMA controller clock enable */
  __HAL_RCC_DMA1_CLK_ENABLE();

  /* DMA interrupt init */
  /* DMA1_Channel6_IRQn interrupt configuration */
  HAL_NVIC_SetPriority(DMA1_Channel6_IRQn, 0, 0);
  HAL_NVIC_EnableIRQ(DMA1_Channel6_IRQn);
  /* DMA1_Channel7_IRQn interrupt configuration */
  HAL_NVIC_SetPriority(DMA1_Channel7_IRQn, 0, 0);
  HAL_NVIC_EnableIRQ(DMA1_Channel7_IRQn);

}

static void MX_GPIO_Init(void)
{
  GPIO_InitTypeDef GPIO_InitStruct = {0};

  /* GPIO Ports Clock Enable */
  __HAL_RCC_GPIOD_CLK_ENABLE();
  __HAL_RCC_GPIOA_CLK_ENABLE();
  __HAL_RCC_GPIOB_CLK_ENABLE();

  /*Configure GPIO pin Output Level */
  HAL_GPIO_WritePin(GPIOA, GPIO_PIN_9, GPIO_PIN_RESET);

  /*Configure GPIO pin : PB0 */
  GPIO_InitStruct.Pin = GPIO_PIN_0;
  GPIO_InitStruct.Mode = GPIO_MODE_IT_FALLING;
  GPIO_InitStruct.Pull = GPIO_PULLUP;
  HAL_GPIO_Init(GPIOB, &GPIO_InitStruct);

  /*Configure GPIO pin : PB10 */
  GPIO_InitStruct.Pin = GPIO_PIN_10;
  GPIO_InitStruct.Mode = GPIO_MODE_IT_RISING;
  GPIO_InitStruct.Pull = GPIO_PULLUP;
  HAL_GPIO_Init(GPIOB, &GPIO_InitStruct);

  /*Configure GPIO pin : PA9 */
  GPIO_InitStruct.Pin = GPIO_PIN_9;
  GPIO_InitStruct.Mode = GPIO_MODE_OUTPUT_PP;
  GPIO_InitStruct.Pull = GPIO_NOPULL;
  GPIO_InitStruct.Speed = GPIO_SPEED_FREQ_LOW;
  HAL_GPIO_Init(GPIOA, &GPIO_InitStruct);

  /* EXTI interrupt init*/
  HAL_NVIC_SetPriority(EXTI0_IRQn, 1, 0);
  HAL_NVIC_EnableIRQ(EXTI0_IRQn);

  HAL_NVIC_SetPriority(EXTI15_10_IRQn, 0, 0);
  HAL_NVIC_EnableIRQ(EXTI15_10_IRQn);

}

void Error_Handler(void)
{
  __disable_irq();
  while (1)
  {
  }
}
